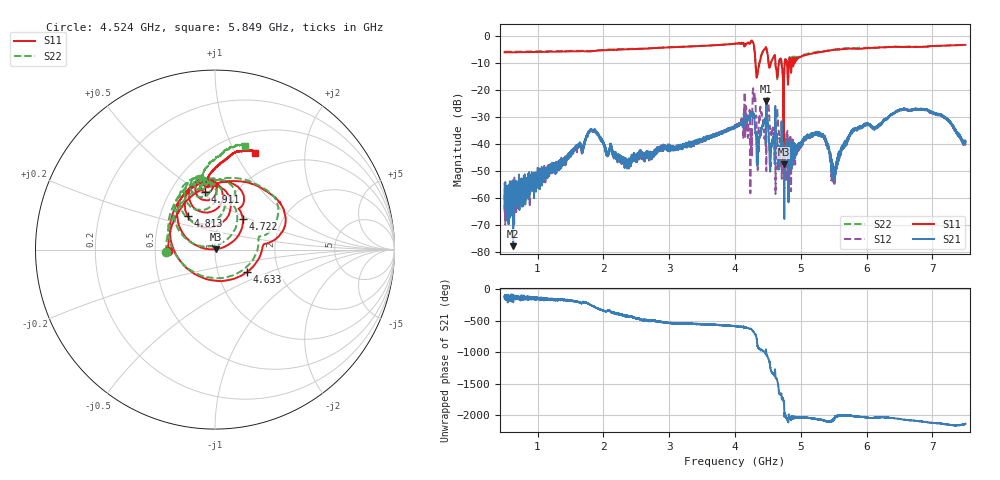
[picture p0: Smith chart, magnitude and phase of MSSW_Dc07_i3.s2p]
!Keysight Technologies,M9374A,MY55442783,A.12.55.05
!Date: Thursday, May 20, 2021 15:45:52
!Correction: S11(Full 2 Port(1,2))
!S21(Full 2 Port(1,2))
!S12(Full 2 Port(1,2))
!S22(Full 2 Port(1,2))
!S2P File: Measurements: S11, S21, S12, S22:
# Hz S  RI  R 50
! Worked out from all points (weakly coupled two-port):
!   7001 points, 500 MHz to 7.5 GHz, reference 50 ohm
!   highest |S21| = -23.99 dB at 4.476 GHz (marker M1); lowest = -77.7 dB at 631 MHz (marker M2)
!   lowest |S11| = -47.4 dB at 4.737 GHz (marker M3), VSWR 1.01, Z = 50.3 + j0.251 ohm
!   |S11| at or under -10 dB: 4.311 GHz to 4.371 GHz (60.25 MHz wide, 1.39 % of centre); 4.615 GHz to 4.665 GHz (50.77 MHz wide, 1.09 % of centre); 4.706 GHz to 4.754 GHz (48.04 MHz wide, 1.02 % of centre) (the widest 3 of 7)
!   |S22| runs from -32.7 to -1.6 dB; largest |S21 - S12| = 0.1
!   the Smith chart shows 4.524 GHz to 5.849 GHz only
!   S11 on the Smith chart (normalised r, x): 4.524 GHz: 0.59, -0.01; 4.633 GHz: 1.39, -0.36; 4.722 GHz: 1.27, +0.46; 4.813 GHz: 0.69, +0.27; 4.911 GHz: 0.73, +0.53; 5.849 GHz: 0.74, +1.20
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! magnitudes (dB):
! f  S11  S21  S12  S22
! 500 MHz  -6.0  -54.5  -65.2  -5.8
! 631 MHz  -6.0  -77.7  -56.1  -5.8
! 1.667 GHz  -5.6  -41.6  -42.3  -5.4
! 1.84 GHz  -5.5  -34.7  -35.2  -5.4
! 2.834 GHz  -4.3  -41.5  -41.7  -4.2
! 4 GHz  -2.7  -33.5  -33.1  -2.8
! 4.263 GHz  -1.8  -28.4  -27.4  -1.8
! 4.295 GHz  -4.9  -30.2  -20.8  -5.0
! 4.347 GHz  -13.0  -45.8  -44.6  -12.7
! 4.476 GHz  -4.6  -24.0  -48.4  -4.7
! 4.524 GHz  -11.6  -43.0  -31.1  -11.3
! 4.633 GHz  -13.2  -36.4  -27.8  -13.6
! 4.722 GHz  -12.7  -40.7  -35.9  -12.2
! 4.737 GHz  -47.4  -43.2  -32.1  -31.3
! 4.813 GHz  -12.3  -61.5  -39.2  -12.3
! 4.911 GHz  -9.8  -42.6  -44.5  -9.2
! 5.167 GHz  -6.4  -36.3  -36.8  -6.1
! 5.509 GHz  -5.0  -50.4  -52.8  -5.0
! 5.849 GHz  -4.7  -34.6  -34.6  -4.4
! 6.334 GHz  -4.0  -29.8  -30.1  -4.0
! 6.912 GHz  -3.9  -27.3  -27.1  -3.8
! 7.5 GHz  -3.2  -38.9  -39.9  -3.3
